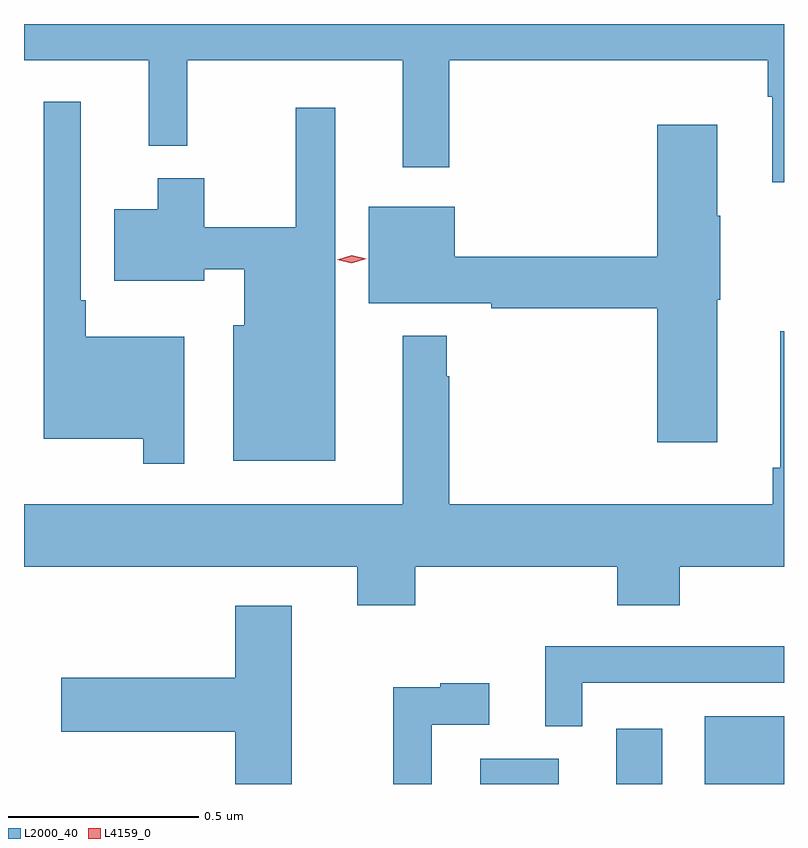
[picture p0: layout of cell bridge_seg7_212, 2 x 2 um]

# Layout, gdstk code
import gdstk
lib = gdstk.Library(unit=1e-6, precision=1e-09)
def R(c, l, rs):  # rectangles x0, y0, x1, y1
    for r in rs: c.add(gdstk.rectangle(r[:2], r[2:], *l))
def P(c, l, *ps):  # polygons
    for p in ps: c.add(gdstk.Polygon(p, *l))
L2000_40 = (2000, 40)
L4159_0 = (4159, 0)

bridge_seg7_212 = lib.new_cell('bridge_seg7_212')
R(bridge_seg7_212, L2000_40, [(151.787,1017.36,151.993,1017.427), (152.144,1017.36,152.266,1017.505), (152.378,1017.36,152.586,1017.538)])
P(bridge_seg7_212, L2000_40, [(152.586,1019.36),(150.586,1019.36),(150.586,1019.264),(150.914,1019.264),(150.914,1019.039),(151.016,1019.039),(151.016,1019.264),(151.583,1019.264),(151.583,1018.983),(151.705,1018.983),(151.705,1019.264),(152.543,1019.264),(152.543,1019.168),(152.555,1019.168),(152.555,1018.944),(152.586,1018.944)],
  [(151.008,1018.537),(150.748,1018.537),(150.748,1018.633),(150.735,1018.633),(150.735,1019.155),(150.638,1019.155),(150.638,1018.268),(150.9,1018.268),(150.9,1018.203),(151.008,1018.203)],
  [(151.405,1019.14),(151.301,1019.14),(151.301,1018.825),(151.06,1018.825),(151.06,1018.954),(150.938,1018.954),(150.938,1018.873),(150.824,1018.873),(150.824,1018.685),(151.06,1018.685),(151.06,1018.715),(151.166,1018.715),(151.166,1018.567),(151.136,1018.567),(151.136,1018.211),(151.405,1018.211)],
  [(152.41,1018.635),(152.418,1018.635),(152.418,1018.856),(152.41,1018.856),(152.41,1019.095),(152.252,1019.095),(152.252,1018.748),(151.72,1018.748),(151.72,1018.879),(151.493,1018.879),(151.493,1018.625),(151.816,1018.625),(151.816,1018.612),(152.252,1018.612),(152.252,1018.26),(152.41,1018.26)],
  [(151.616,1017.932),(152.147,1017.932),(152.147,1017.83),(152.312,1017.83),(152.312,1017.932),(152.586,1017.932),(152.586,1018.552),(152.576,1018.552),(152.576,1018.192),(152.557,1018.192),(152.557,1018.096),(151.705,1018.096),(151.705,1018.433),(151.698,1018.433),(151.698,1018.54),(151.583,1018.54),(151.583,1018.096),(150.586,1018.096),(150.586,1017.932),(151.463,1017.932),(151.463,1017.83),(151.616,1017.83)],
  [(151.291,1017.829),(151.142,1017.829),(151.142,1017.639),(150.684,1017.639),(150.684,1017.497),(151.142,1017.497),(151.142,1017.36),(151.291,1017.36)],
  [(152.055,1017.627),(152.586,1017.627),(152.586,1017.723),(151.958,1017.723),(151.958,1017.512),(152.055,1017.512)],
  [(151.659,1017.516),(151.81,1017.516),(151.81,1017.625),(151.682,1017.625),(151.682,1017.614),(151.558,1017.614),(151.558,1017.36),(151.659,1017.36)])
P(bridge_seg7_212, L4159_0, [(151.449,1018.731),(151.41,1018.739),(151.41,1018.74),(151.41,1018.74),(151.448,1018.751),(151.487,1018.742),(151.487,1018.742),(151.487,1018.742)])

lib.write_gds('bridge_seg7_212.gds')
